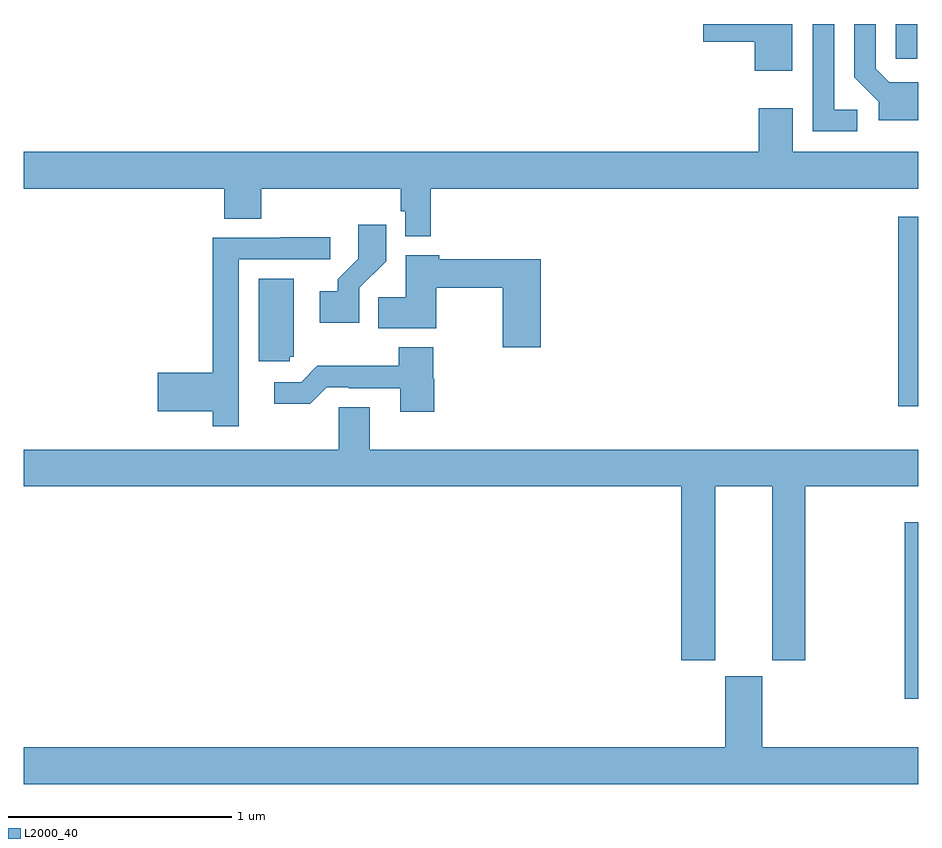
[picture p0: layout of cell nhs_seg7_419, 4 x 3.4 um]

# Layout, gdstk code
import gdstk
lib = gdstk.Library(unit=1e-6, precision=1e-09)
def R(c, l, rs):  # rectangles x0, y0, x1, y1
    for r in rs: c.add(gdstk.rectangle(r[:2], r[2:], *l))
def P(c, l, *ps):  # polygons
    for p in ps: c.add(gdstk.Polygon(p, *l))
L2000_40 = (2000, 40)

nhs_seg7_419 = lib.new_cell('nhs_seg7_419')
R(nhs_seg7_419, L2000_40, [(146.941,1016.981,147,1017.772), (146.911,1018.29,147,1019.137), (146.901,1019.844,146.997,1020)])
P(nhs_seg7_419, L2000_40, [(146.437,1020),(146.04,1020),(146.04,1019.921),(146.27,1019.921),(146.27,1019.79),(146.437,1019.79)],
  [(146.728,1019.616),(146.625,1019.616),(146.625,1020),(146.529,1020),(146.529,1019.52),(146.728,1019.52)],
  [(147,1019.74),(146.994,1019.74),(146.994,1019.739),(146.871,1019.739),(146.811,1019.799),(146.811,1020),(146.715,1020),(146.715,1019.762),(146.825,1019.652),(146.825,1019.57),(147,1019.57)],
  [(144.821,1019.264),(147,1019.264),(147,1019.428),(146.44,1019.428),(146.44,1019.623),(146.288,1019.623),(146.288,1019.428),(143,1019.428),(143,1019.264),(143.897,1019.264),(143.897,1019.128),(144.062,1019.128),(144.062,1019.264),(144.685,1019.264),(144.685,1019.163),(144.705,1019.163),(144.705,1019.051),(144.821,1019.051)],
  [(144.501,1018.819),(144.62,1018.938),(144.62,1019.101),(144.495,1019.101),(144.495,1018.949),(144.404,1018.859),(144.404,1018.804),(144.324,1018.804),(144.324,1018.664),(144.501,1018.664)],
  [(143.962,1018.422),(143.961,1018.422),(143.961,1018.947),(144.37,1018.947),(144.37,1019.046),(144.145,1019.046),(144.145,1019.043),(143.845,1019.043),(143.845,1018.439),(143.598,1018.439),(143.598,1018.268),(143.845,1018.268),(143.845,1018.2),(143.962,1018.2)],
  [(145.313,1018.948),(144.857,1018.948),(144.857,1018.966),(144.707,1018.966),(144.707,1018.778),(144.586,1018.778),(144.586,1018.64),(144.844,1018.64),(144.844,1018.819),(145.142,1018.819),(145.142,1018.554),(145.313,1018.554)],
  [(144.189,1018.512),(144.208,1018.512),(144.208,1018.861),(144.05,1018.861),(144.05,1018.491),(144.189,1018.491)],
  [(144.836,1018.413),(144.831,1018.413),(144.831,1018.555),(144.676,1018.555),(144.676,1018.471),(144.313,1018.471),(144.24,1018.398),(144.12,1018.398),(144.12,1018.301),(144.281,1018.301),(144.354,1018.374),(144.454,1018.374),(144.454,1018.371),(144.683,1018.371),(144.683,1018.266),(144.836,1018.266)],
  [(146.092,1017.932),(146.348,1017.932),(146.348,1017.153),(146.496,1017.153),(146.496,1017.932),(147,1017.932),(147,1018.096),(144.547,1018.096),(144.547,1018.286),(144.408,1018.286),(144.408,1018.096),(143,1018.096),(143,1017.932),(145.94,1017.932),(145.94,1017.153),(146.092,1017.153)],
  [(147,1016.764),(146.302,1016.764),(146.302,1017.081),(146.138,1017.081),(146.138,1016.764),(143,1016.764),(143,1016.6),(147,1016.6)])

lib.write_gds('nhs_seg7_419.gds')
